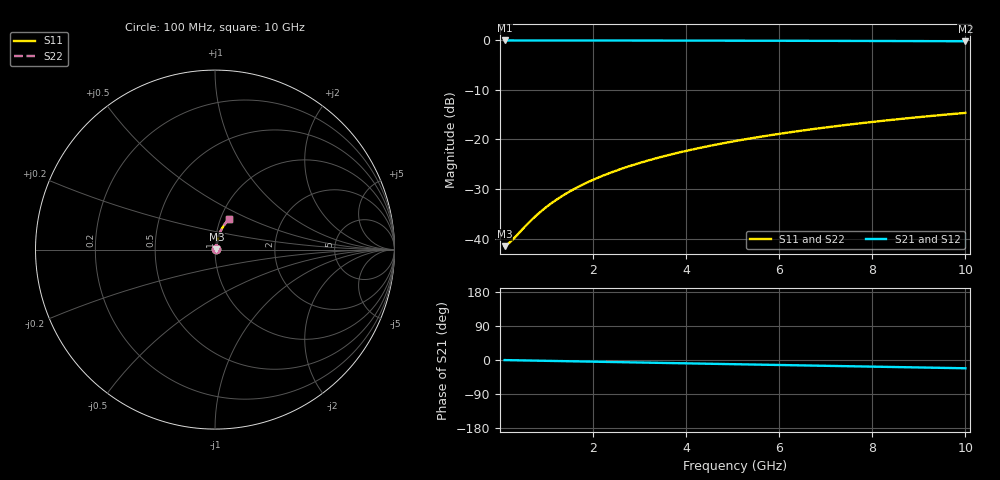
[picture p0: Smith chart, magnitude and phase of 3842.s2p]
# Hz S RI R 50.00
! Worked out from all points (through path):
!   100 points, 100 MHz to 10 GHz, reference 50 ohm
!   highest |S21| = -0.07 dB at 100 MHz (marker M1); lowest = -0.2 dB at 10 GHz (marker M2)
!   group delay of S21, straight-line fit = 6.06 ps
!   lowest |S11| = -41.5 dB at 100 MHz (marker M3), VSWR 1.02, Z = 50.8 + j0.192 ohm
!   |S11| at or under -10 dB: start of sweep to end of sweep
!   |S22| runs from -41.5 to -14.7 dB; largest |S21 - S12| = 0
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1e8  0.00822 0.00189  0.9918 -0.00382  0.9918 -0.00382  0.00822 0.00189
2e8  0.00829 0.00377  0.9917 -0.00763  0.9917 -0.00763  0.00829 0.00377
3e8  0.00837 0.00566  0.9916 -0.0114  0.9916 -0.0114  0.00837 0.00566
6e8  0.00865 0.0113  0.9913 -0.0229  0.9913 -0.0229  0.00865 0.0113
7e8  0.00876 0.0132  0.9911 -0.0267  0.9911 -0.0267  0.00876 0.0132
8e8  0.00889 0.0151  0.991 -0.0305  0.991 -0.0305  0.00889 0.0151
1e9  0.00919 0.0188  0.9906 -0.0381  0.9906 -0.0381  0.00919 0.0188
1.2e9  0.00954 0.0226  0.9902 -0.0457  0.9902 -0.0457  0.00954 0.0226
1.4e9  0.00994 0.0263  0.9897 -0.0533  0.9897 -0.0533  0.00994 0.0263
1.6e9  0.0104 0.0301  0.9891 -0.0609  0.9891 -0.0609  0.0104 0.0301
1.8e9  0.0109 0.0338  0.9884 -0.0685  0.9884 -0.0685  0.0109 0.0338
2.1e9  0.0118 0.0394  0.9873 -0.0799  0.9873 -0.0799  0.0118 0.0394
2.5e9  0.0132 0.0468  0.9856 -0.095  0.9856 -0.095  0.0132 0.0468
2.9e9  0.0147 0.0541  0.9836 -0.1101  0.9836 -0.1101  0.0147 0.0541
3.4e9  0.017 0.0632  0.9807 -0.1288  0.9807 -0.1288  0.017 0.0632
4.2e9  0.0214 0.0775  0.9752 -0.1586  0.9752 -0.1586  0.0214 0.0775
5.1e9  0.0274 0.0933  0.9677 -0.1917  0.9677 -0.1917  0.0274 0.0933
5.9e9  0.0335 0.1068  0.9598 -0.2208  0.9598 -0.2208  0.0335 0.1068
6.7e9  0.0405 0.12  0.9509 -0.2494  0.9509 -0.2494  0.0405 0.12
7.5e9  0.0482 0.1326  0.9411 -0.2775  0.9411 -0.2775  0.0482 0.1326
8.4e9  0.0578 0.1462  0.9288 -0.3085  0.9288 -0.3085  0.0578 0.1462
1e10  0.0768 0.1684  0.9041 -0.3617  0.9041 -0.3617  0.0768 0.1684
